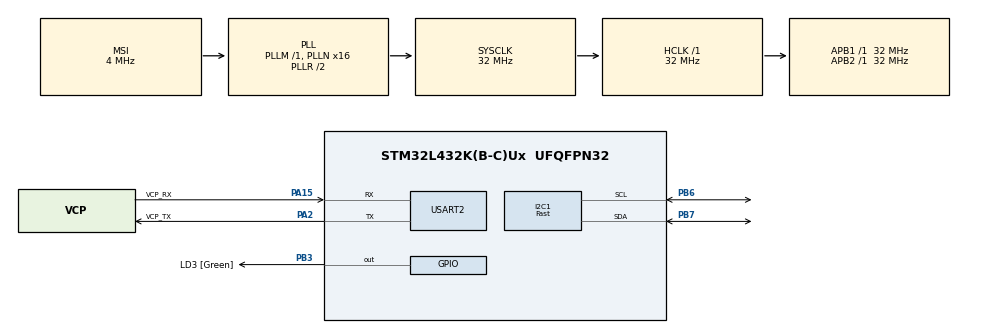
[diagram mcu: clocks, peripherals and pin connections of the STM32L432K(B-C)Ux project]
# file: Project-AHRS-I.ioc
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I2C1.I2C_Speed_Mode=I2C_Fast
I2C1.Timing=0x0060112F
Mcu.Family=STM32L4
Mcu.Name=STM32L432K(B-C)Ux
Mcu.Package=UFQFPN32
NVIC.PriorityGroup=NVIC_PRIORITYGROUP_4
PA0.GPIO_Label=MCO [High speed clock in]
PA0.Mode=HSE-External-Clock-Source-for-LittleOrca
PA0.Signal=RCC_CK_IN
PA13\ (JTMS-SWDIO).GPIO_Label=SWDIO
PA13\ (JTMS-SWDIO).Mode=Serial_Wire
PA13\ (JTMS-SWDIO).Signal=SYS_JTMS-SWDIO
PA14\ (JTCK-SWCLK).GPIO_Label=SWCLK
PA14\ (JTCK-SWCLK).Mode=Serial_Wire
PA14\ (JTCK-SWCLK).Signal=SYS_JTCK-SWCLK
PA15\ (JTDI).GPIO_Label=VCP_RX
PA15\ (JTDI).Mode=Asynchronous
PA15\ (JTDI).Signal=USART2_RX
PA2.GPIO_Label=VCP_TX
PA2.Mode=Asynchronous
PA2.Signal=USART2_TX
PB3\ (JTDO-TRACESWO).GPIO_Label=LD3 [Green]
PB3\ (JTDO-TRACESWO).Signal=GPIO_Output
PB6.Mode=I2C
PB6.Signal=I2C1_SCL
PB7.Mode=I2C
PB7.Signal=I2C1_SDA
PC14-OSC32_IN\ (PC14).Mode=LSE-External-Oscillator
PC14-OSC32_IN\ (PC14).Signal=RCC_OSC32_IN
PC15-OSC32_OUT\ (PC15).Mode=LSE-External-Oscillator
PC15-OSC32_OUT\ (PC15).Signal=RCC_OSC32_OUT
ProjectManager.HeapSize=0x200
ProjectManager.StackSize=0x400
ProjectManager.TargetToolchain=STM32CubeIDE
RCC.AHBFreq_Value=32000000
RCC.APB1Freq_Value=32000000
RCC.APB1TimFreq_Value=32000000
RCC.APB2Freq_Value=32000000
RCC.APB2TimFreq_Value=32000000
RCC.CortexFreq_Value=32000000
RCC.HCLKFreq_Value=32000000
RCC.HSE_VALUE=8000000
RCC.HSI16_VALUE=16000000
RCC.HSI48_VALUE=48000000
RCC.HSI_VALUE=16000000
RCC.MSI_VALUE=4000000
RCC.PLLMUL=RCC_PLLMUL_4
RCC.PLLN=16
RCC.SYSCLKFreq_VALUE=32000000
RCC.SYSCLKSource=RCC_SYSCLKSOURCE_PLLCLK
RCC.VCOOutputFreq_Value=64000000
TIM1.Prescaler=31
USART2.VirtualMode-Asynchronous=VM_ASYNC
VP_TIM1_VS_ClockSourceINT.Mode=Internal
board=NUCLEO-L432KC

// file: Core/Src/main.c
/* USER CODE BEGIN Header */
/**
  ******************************************************************************
  * @file           : main.c
  * @brief          : Main program body
  ******************************************************************************
  * @attention
  *
  * Copyright (c) 2026 STMicroelectronics.
  * All rights reserved.
  *
  * This software is licensed under terms that can be found in the LICENSE file
  * in the root directory of this software component.
  * If no LICENSE file comes with this software, it is provided AS-IS.
  *
  ******************************************************************************
  */
/* USER CODE END Header */
#include "main.h"
#include "i2c.h"
#include "tim.h"
#include "usart.h"
#include "gpio.h"

/* USER CODE BEGIN Includes */
#include <stdio.h>
#include "mpu9255.h"
/* USER CODE END Includes */

/* USER CODE BEGIN PV */
MPU9255_t MPU9255;
int count;
/* USER CODE END PV */

void SystemClock_Config(void);

/* USER CODE BEGIN 0 */
int _write(int file, char *ptr, int len)
{
    HAL_UART_Transmit(&huart2, (uint8_t*)ptr, len, HAL_MAX_DELAY);
    return len;
}
void I2C_Scan(I2C_HandleTypeDef *hi2c) {
	printf("Scanning I2C1 bus...\r\n");
	for (uint8_t addr = 1; addr < 128; addr++) {
		if (HAL_I2C_IsDeviceReady(hi2c, (uint16_t)(addr << 1), 2, 10) == HAL_OK) {
			printf("Device found at address: 0x%02X\r\n", addr);
		}
	}
	printf("Scan complete.\r\n");
}
/* USER CODE END 0 */

int main(void)
{

  /* MCU Configuration--------------------------------------------------------*/

  /* Reset of all peripherals, Initializes the Flash interface and the Systick. */
  HAL_Init();

  /* Configure the system clock */
  SystemClock_Config();

  /* Initialize all configured peripherals */
  MX_GPIO_Init();
  MX_USART2_UART_Init();
  MX_I2C1_Init();
  MX_TIM1_Init();
  /* USER CODE BEGIN 2 */
  setbuf(stdout, NULL);
  I2C_Scan(&hi2c1);
  while (MPU9255_Init(&hi2c1) == 1);
  HAL_Delay(3000);

  /* USER CODE END 2 */

  /* Infinite loop */
  while (1)
  {

    /* USER CODE BEGIN 3 */
	  readAll(&hi2c1, &MPU9255);

	  if (count == 10) {
	      printf("%f\t", MPU9255.yaw);
	      printf("%f\t", MPU9255.pitch);
	      printf("%f\t\n", MPU9255.roll);
	      count = 0;
	  }
	  count++;
  }
  /* USER CODE END 3 */
}

void SystemClock_Config(void)
{
  RCC_OscInitTypeDef RCC_OscInitStruct = {0};
  RCC_ClkInitTypeDef RCC_ClkInitStruct = {0};

  /** Configure the main internal regulator output voltage
  */
  if (HAL_PWREx_ControlVoltageScaling(PWR_REGULATOR_VOLTAGE_SCALE1) != HAL_OK)
  {
    Error_Handler();
  }

  /** Configure LSE Drive Capability
  */
  HAL_PWR_EnableBkUpAccess();
  __HAL_RCC_LSEDRIVE_CONFIG(RCC_LSEDRIVE_LOW);

  /** Initializes the RCC Oscillators according to the specified parameters
  * in the RCC_OscInitTypeDef structure.
  */
  RCC_OscInitStruct.OscillatorType = RCC_OSCILLATORTYPE_LSE|RCC_OSCILLATORTYPE_MSI;
  RCC_OscInitStruct.LSEState = RCC_LSE_ON;
  RCC_OscInitStruct.MSIState = RCC_MSI_ON;
  RCC_OscInitStruct.MSICalibrationValue = 0;
  RCC_OscInitStruct.MSIClockRange = RCC_MSIRANGE_6;
  RCC_OscInitStruct.PLL.PLLState = RCC_PLL_ON;
  RCC_OscInitStruct.PLL.PLLSource = RCC_PLLSOURCE_MSI;
  RCC_OscInitStruct.PLL.PLLM = 1;
  RCC_OscInitStruct.PLL.PLLN = 16;
  RCC_OscInitStruct.PLL.PLLP = RCC_PLLP_DIV7;
  RCC_OscInitStruct.PLL.PLLQ = RCC_PLLQ_DIV2;
  RCC_OscInitStruct.PLL.PLLR = RCC_PLLR_DIV2;
  if (HAL_RCC_OscConfig(&RCC_OscInitStruct) != HAL_OK)
  {
    Error_Handler();
  }

  /** Initializes the CPU, AHB and APB buses clocks
  */
  RCC_ClkInitStruct.ClockType = RCC_CLOCKTYPE_HCLK|RCC_CLOCKTYPE_SYSCLK
                              |RCC_CLOCKTYPE_PCLK1|RCC_CLOCKTYPE_PCLK2;
  RCC_ClkInitStruct.SYSCLKSource = RCC_SYSCLKSOURCE_PLLCLK;
  RCC_ClkInitStruct.AHBCLKDivider = RCC_SYSCLK_DIV1;
  RCC_ClkInitStruct.APB1CLKDivider = RCC_HCLK_DIV1;
  RCC_ClkInitStruct.APB2CLKDivider = RCC_HCLK_DIV1;

  if (HAL_RCC_ClockConfig(&RCC_ClkInitStruct, FLASH_LATENCY_1) != HAL_OK)
  {
    Error_Handler();
  }

  /** Enable MSI Auto calibration
  */
  HAL_RCCEx_EnableMSIPLLMode();
}

void Error_Handler(void)
{
  __disable_irq();
  while (1)
  {
  }
}
